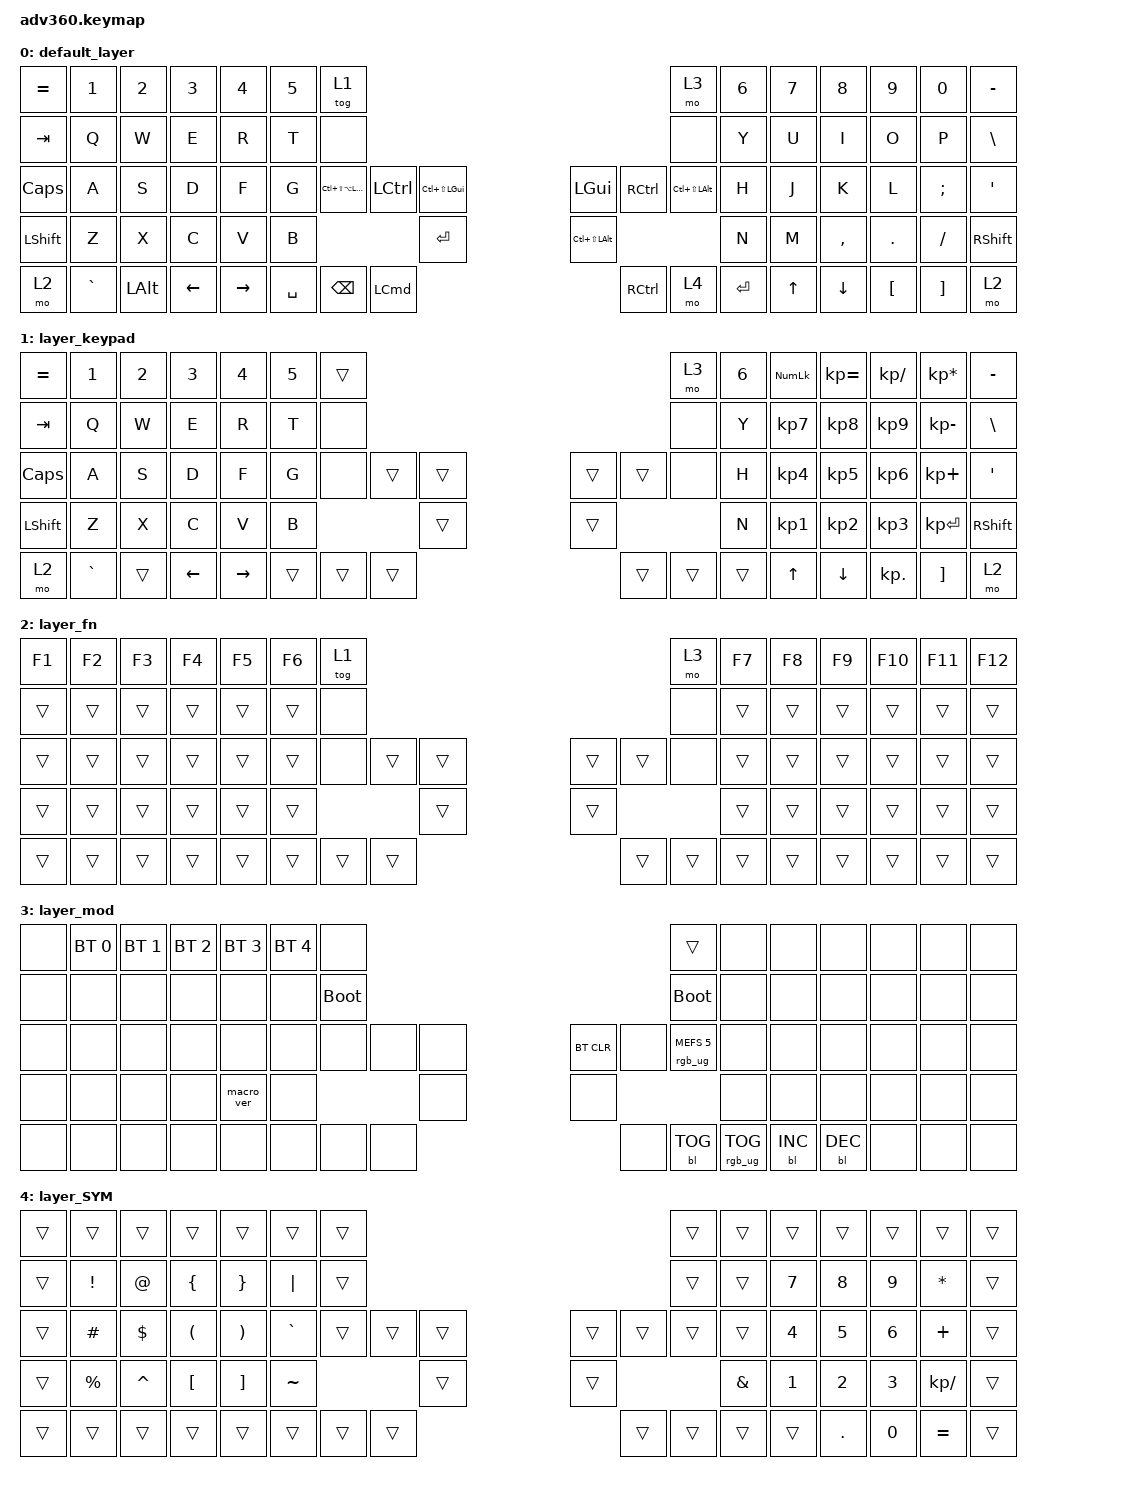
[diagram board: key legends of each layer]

/*
 * Copyright (c) 2020 The ZMK Contributors
 *
 * SPDX-License-Identifier: MIT
 */


/* THIS FILE WAS GENERATED!
 *
 * This file was generated automatically. You may or may not want to
 * edit it directly.
 */

#include <behaviors.dtsi>
#include <dt-bindings/zmk/keys.h>
#include <dt-bindings/zmk/bt.h>
#include <dt-bindings/zmk/rgb.h>
#include <dt-bindings/zmk/backlight.h>

/ {
  behaviors {
    #include "macros.dtsi"
    #include "version.dtsi"

    hm: homerow_mods {
        compatible = "zmk,behavior-hold-tap";
        label = "HOMEROW_MODS";
        #binding-cells = <2>;
        tapping-term-ms = <200>;
        quick_tap_ms = <175>;
        flavor = "tap-preferred";
        bindings = <&kp>, <&kp>;
    };
  };

    keymap {
        compatible = "zmk,keymap";


        default_layer {
            bindings = <
 &kp EQUAL     &kp N1        &kp N2    &kp N3     &kp N4  &kp N5                          &tog 1                                                                                           &mo 3  &kp N6  &kp N7     &kp N8    &kp N9    &kp N0  &kp MINUS
   &kp TAB      &kp Q         &kp W     &kp E      &kp R   &kp T                           &none                                                                                           &none   &kp Y   &kp U      &kp I     &kp O     &kp P   &kp BSLH
  &kp CAPS      &kp A         &kp S     &kp D      &kp F   &kp G            &kp LC(LS(LA(LGUI)))      &kp LCTRL  &kp LC(LS(LGUI))                          &kp LGUI  &kp RCTRL  &kp LC(LS(LALT))   &kp H   &kp J      &kp K     &kp L  &kp SEMI    &kp SQT
 &kp LSHFT      &kp Z         &kp X     &kp C      &kp V   &kp B                                                       &kp RETURN                  &kp LC(LS(LALT))                                &kp N   &kp M  &kp COMMA   &kp DOT  &kp FSLH  &kp RSHFT
     &mo 2  &kp GRAVE  &kp LEFT_ALT  &kp LEFT  &kp RIGHT                               &kp SPACE  &kp BACKSPACE  &kp LEFT_COMMAND                         &kp RCTRL      &mo 4        &kp RETURN          &kp UP   &kp DOWN  &kp LBKT  &kp RBKT      &mo 2
            >;
        };

        layer_keypad {
            bindings = <
 &kp EQUAL     &kp N1  &kp N2    &kp N3     &kp N4  &kp N5            &trans                                                   &mo 3  &kp N6  &kp KP_NUM  &kp KP_EQUAL  &kp KP_DIVIDE  &kp KP_MULTIPLY  &kp MINUS
   &kp TAB      &kp Q   &kp W     &kp E      &kp R   &kp T             &none                                                   &none   &kp Y   &kp KP_N7     &kp KP_N8      &kp KP_N9     &kp KP_MINUS   &kp BSLH
  &kp CAPS      &kp A   &kp S     &kp D      &kp F   &kp G             &none  &trans  &trans                  &trans  &trans   &none   &kp H   &kp KP_N4     &kp KP_N5      &kp KP_N6      &kp KP_PLUS    &kp SQT
 &kp LSHFT      &kp Z   &kp X     &kp C      &kp V   &kp B                            &trans                  &trans                   &kp N   &kp KP_N1     &kp KP_N2      &kp KP_N3     &kp KP_ENTER  &kp RSHFT
     &mo 2  &kp GRAVE  &trans  &kp LEFT  &kp RIGHT                    &trans  &trans  &trans                  &trans  &trans  &trans              &kp UP      &kp DOWN     &kp KP_DOT         &kp RBKT      &mo 2
            >;
        };

        layer_fn {
            bindings = <
 &kp F1  &kp F2  &kp F3  &kp F4  &kp F5  &kp F6            &tog 1                                                   &mo 3  &kp F7  &kp F8  &kp F9  &kp F10  &kp F11  &kp F12
 &trans  &trans  &trans  &trans  &trans  &trans             &none                                                   &none  &trans  &trans  &trans   &trans   &trans   &trans
 &trans  &trans  &trans  &trans  &trans  &trans             &none  &trans  &trans                  &trans  &trans   &none  &trans  &trans  &trans   &trans   &trans   &trans
 &trans  &trans  &trans  &trans  &trans  &trans                            &trans                  &trans                  &trans  &trans  &trans   &trans   &trans   &trans
 &trans  &trans  &trans  &trans  &trans                    &trans  &trans  &trans                  &trans  &trans  &trans          &trans  &trans   &trans   &trans   &trans
            >;
        };

        layer_mod {
            bindings = <
  &none  &bt BT_SEL 0  &bt BT_SEL 1  &bt BT_SEL 2  &bt BT_SEL 3  &bt BT_SEL 4                  &none                                                                          &trans   &none       &none       &none   &none   &none   &none
  &none         &none         &none         &none         &none         &none            &bootloader                                                                     &bootloader   &none       &none       &none   &none   &none   &none
  &none         &none         &none         &none         &none         &none                  &none   &none   &none                  &bt BT_CLR       &none  &rgb_ug RGB_MEFS_CMD 5   &none       &none       &none   &none   &none   &none
  &none         &none         &none         &none    &macro_ver         &none                                  &none                       &none                                       &none       &none       &none   &none   &none   &none
  &none         &none         &none         &none         &none                                &none   &none   &none                       &none  &bl BL_TOG         &rgb_ug RGB_TOG          &bl BL_INC  &bl BL_DEC   &none   &none   &none
            >;
        };

        layer_SYM {
            bindings = <
 &trans       &trans       &trans                &trans                 &trans     &trans            &trans                                                  &trans         &trans        &trans        &trans        &trans         &trans  &trans
 &trans     &kp EXCL  &kp AT_SIGN        &kp LEFT_BRACE        &kp RIGHT_BRACE   &kp PIPE            &trans                                                  &trans         &trans  &kp NUMBER_7  &kp NUMBER_8  &kp NUMBER_9       &kp STAR  &trans
 &trans     &kp HASH   &kp DOLLAR  &kp LEFT_PARENTHESIS  &kp RIGHT_PARENTHESIS  &kp GRAVE            &trans  &trans  &trans                  &trans  &trans  &trans         &trans  &kp NUMBER_4  &kp NUMBER_5  &kp NUMBER_6       &kp PLUS  &trans
 &trans  &kp PERCENT    &kp CARET      &kp LEFT_BRACKET      &kp RIGHT_BRACKET  &kp TILDE                            &trans                  &trans                  &kp AMPERSAND  &kp NUMBER_1  &kp NUMBER_2  &kp NUMBER_3  &kp KP_DIVIDE  &trans
 &trans       &trans       &trans                &trans                 &trans                       &trans  &trans  &trans                  &trans  &trans  &trans                       &trans    &kp PERIOD  &kp NUMBER_0      &kp EQUAL  &trans
            >;
        };

    };
};
